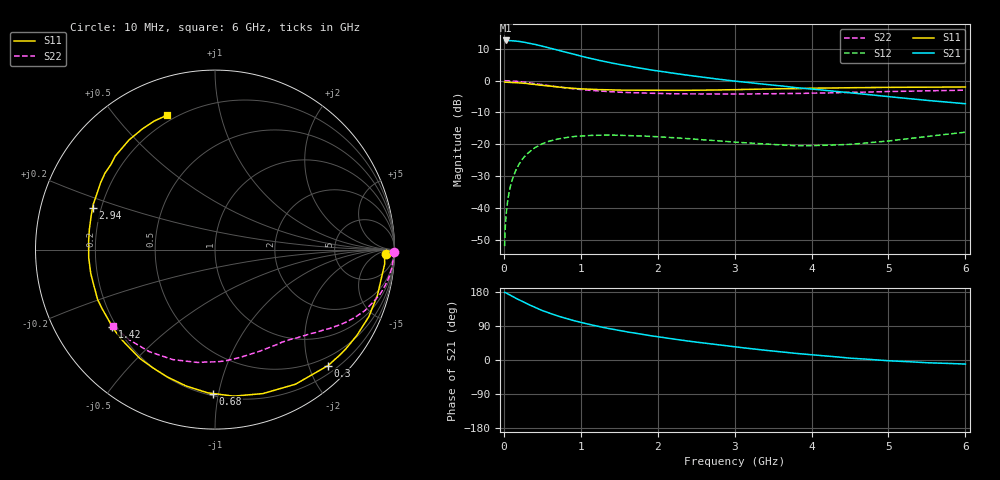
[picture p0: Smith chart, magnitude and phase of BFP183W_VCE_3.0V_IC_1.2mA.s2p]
! Infineon Technologies  Discrete & RF Semiconductors
! BFP183W
! VCE = 3.0 V,  IC =  1.2 mA
! Common Emitter S-Parameters:  Jan 2016
# GHz  S  MA  R  50
!  f  S11  S21  S12  S22
! GHz  MAG  ANG  MAG  ANG  MAG  ANG  MAG  ANG
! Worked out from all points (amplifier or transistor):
!   210 points, 10 MHz to 6 GHz, reference 50 ohm
!   highest |S21| = 12.6 dB at 30 MHz (marker M1)
!   |S21| within 3 dB of that: start of sweep to 697.1 MHz
!   unconditionally stable (mu >= 1): 2.615 GHz to end of sweep
!   at 185 MHz: K = 0.08, MSG = 19.6 dB, |S12| = -26.8 dB
!   at 1.52 GHz: K = 0.57, MSG = 11.1 dB, |S12| = -17.2 dB
!   at 6 GHz: K = 1.11, MAG = 2.5 dB, |S12| = -16.2 dB
!   S11 on the Smith chart (normalised r, x): 10 MHz: 31, -17; 300 MHz: 0.34, -2.33; 680 MHz: 0.21, -0.96; 1.42 GHz: 0.18, -0.32; 2.94 GHz: 0.17, +0.16; 6 GHz: 0.17, +0.69
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0.01  0.9513 -1.6  4.255 178.3  0.0025 93.4  0.9996 -0.7
0.02  0.9459 -3.0  4.285 178.0  0.0053 86.2  0.9966 -1.3
0.03  0.9489 -4.8  4.287 177.0  0.0078 88.3  0.9963 -1.8
0.06  0.9409 -9.4  4.273 173.6  0.0154 83.1  0.9935 -3.7
0.12  0.9361 -18.8  4.225 167.1  0.0302 77.9  0.9862 -7.3
0.2  0.9239 -31.1  4.135 158.3  0.0492 71.1  0.9692 -11.9
0.3  0.9024 -45.7  3.937 148.3  0.0702 62.7  0.9372 -17.2
0.4  0.8739 -59.1  3.732 139.2  0.0878 55.0  0.9027 -22.0
0.5  0.8455 -71.6  3.489 130.5  0.102 48.4  0.8659 -25.9
0.68  0.8021 -90.7  3.07 117.7  0.1192 38.0  0.8054 -31.6
0.82  0.7718 -103.5  2.765 108.8  0.128 31.6  0.7652 -35.4
1.02  0.742 -119.1  2.397 98.3  0.1355 24.0  0.7218 -40.0
1.2  0.7262 -131.0  2.134 89.8  0.1388 18.3  0.6936 -43.6
1.42  0.7154 -143.1  1.877 81.0  0.1393 13.1  0.6683 -47.6
1.6  0.7099 -152.4  1.714 74.2  0.1379 10.0  0.6515 -50.5
2.02  0.7044 -169.9  1.408 60.9  0.1309 4.3  0.6288 -58.0
2.4  0.7056 176.9  1.213 49.8  0.1226 1.2  0.62 -65.2
2.94  0.7202 161.3  1.004 36.2  0.1096 1.4  0.6158 -75.5
3.1  0.7251 157.1  0.957 32.5  0.1063 2.3  0.6169 -78.8
4.1  0.7632 135.1  0.72 12.1  0.0958 16.8  0.638 -101.3
5.1  0.7861 119.7  0.546 -2.9  0.1165 32.4  0.6779 -125.0
6  0.7947 109.8  0.434 -10.7  0.1547 36.7  0.7097 -143.1
